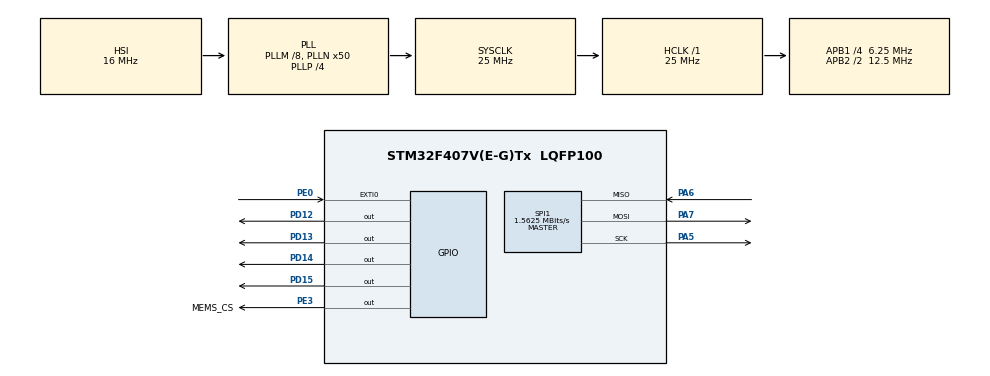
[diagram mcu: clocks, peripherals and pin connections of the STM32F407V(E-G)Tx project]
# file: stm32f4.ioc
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Mcu.Family=STM32F4
Mcu.Name=STM32F407V(E-G)Tx
Mcu.Package=LQFP100
NVIC.EXTI0_IRQn=true\:0\:0\:false\:false\:true\:true\:true\:true
NVIC.PriorityGroup=NVIC_PRIORITYGROUP_0
NVIC.SPI1_IRQn=true\:0\:0\:false\:false\:true\:true\:true\:true
PA5.Mode=Full_Duplex_Master
PA5.Signal=SPI1_SCK
PA6.Mode=Full_Duplex_Master
PA6.Signal=SPI1_MISO
PA7.Mode=Full_Duplex_Master
PA7.Signal=SPI1_MOSI
PD12.Signal=GPIO_Output
PD13.Signal=GPIO_Output
PD14.Signal=GPIO_Output
PD15.Signal=GPIO_Output
PE0.Signal=GPXTI0
PE3.GPIO_Label=MEMS_CS
PE3.Signal=GPIO_Output
ProjectManager.HeapSize=0x200
ProjectManager.StackSize=0x400
ProjectManager.TargetToolchain=STM32CubeIDE
RCC.48MHZClocksFreq_Value=14285714.285714285
RCC.AHBFreq_Value=25000000
RCC.APB1CLKDivider=RCC_HCLK_DIV4
RCC.APB1Freq_Value=6250000
RCC.APB1TimFreq_Value=12500000
RCC.APB2CLKDivider=RCC_HCLK_DIV2
RCC.APB2Freq_Value=12500000
RCC.APB2TimFreq_Value=25000000
RCC.CortexFreq_Value=25000000
RCC.HCLKFreq_Value=25000000
RCC.HSE_VALUE=8000000
RCC.HSI_VALUE=16000000
RCC.PLLM=8
RCC.PLLN=50
RCC.PLLP=RCC_PLLP_DIV4
RCC.PLLQ=7
RCC.SYSCLKFreq_VALUE=25000000
RCC.SYSCLKSource=RCC_SYSCLKSOURCE_PLLCLK
RCC.VCOOutputFreq_Value=100000000
SPI1.BaudRatePrescaler=SPI_BAUDRATEPRESCALER_8
SPI1.CalculateBaudRate=1.5625 MBits/s
SPI1.Direction=SPI_DIRECTION_2LINES
SPI1.Mode=SPI_MODE_MASTER
SPI1.VirtualType=VM_MASTER
board=STM32F407G-DISC1

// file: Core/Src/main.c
/* USER CODE BEGIN Header */
/**
  ******************************************************************************
  * @file           : main.c
  * @brief          : Main program body
  ******************************************************************************
  * @attention
  *
  * Copyright (c) 2025 STMicroelectronics.
  * All rights reserved.
  *
  * This software is licensed under terms that can be found in the LICENSE file
  * in the root directory of this software component.
  * If no LICENSE file comes with this software, it is provided AS-IS.
  *
  ******************************************************************************
  */
/* USER CODE END Header */
#include "main.h"

/* USER CODE BEGIN Includes */
#include "MY_LIS3DSH.h"
#include "stdio.h"
#include "math.h"
#define INPUT_SIZE   48
#define HIDDEN_SIZE  8
#define OUTPUT_SIZE  2

/* USER CODE END Includes */

SPI_HandleTypeDef hspi1;

/* USER CODE BEGIN PV */
/* Private variables ---------------------------------------------------------*/

/* USER CODE END PV */

void SystemClock_Config(void);
static void MX_GPIO_Init(void);
static void MX_SPI1_Init(void);

float weights_0[HIDDEN_SIZE][INPUT_SIZE] = {
    {-0.009248f, -0.118557f, 0.208243f, -0.163616f, -0.060488f, -0.268575f, -0.023230f, -0.151569f, 0.264629f, -0.151983f, 0.036574f, -0.216678f, 0.357840f, 0.161347f, 0.147439f, -0.301130f, -0.144015f, -0.144806f, 0.189924f, 0.306377f, 0.243274f, -0.126550f, -0.277290f, -0.448562f, -0.418428f, 0.056340f, -0.033840f, -0.361544f, 0.093642f, 0.013097f, 0.428422f, -0.364270f, -0.074422f, -0.071462f, -0.128521f, -0.263121f, -0.079553f, 0.092966f, 0.211703f, -0.084975f, 0.172350f, -0.099468f, -0.160572f, 0.011061f, 0.065600f, -0.061778f, -0.029764f, -0.170664f},
    {0.384768f, -0.135495f, -0.016006f, 0.347942f, -0.144132f, -0.219928f, -0.046690f, 0.122077f, 0.171077f, 0.104701f, 0.396323f, 0.137047f, 0.066642f, 0.280293f, -0.058195f, -0.359640f, 0.362765f, -0.152319f, 0.039623f, 0.105440f, -0.116425f, -0.232434f, 0.246055f, 0.190452f, -0.254038f, -0.007870f, -0.109315f, -0.252314f, 0.258587f, -0.157954f, -0.064519f, 0.267690f, -0.058631f, 0.043144f, -0.213550f, -0.269866f, 0.334025f, -0.246975f, 0.135497f, 0.168581f, -0.320873f, -0.321203f, 0.183136f, -0.166291f, -0.155428f, 0.533877f, 0.058856f, 0.072174f},
    {-0.121144f, 0.053788f, -0.304576f, -0.010932f, -0.345424f, -0.115004f, 0.285119f, 0.006430f, -0.031238f, -0.035877f, 0.042796f, 0.299130f, -0.216345f, 0.259893f, -0.074611f, 0.050530f, -0.220957f, -0.191404f, -0.136651f, -0.178544f, 0.092465f, 0.351727f, 0.015293f, 0.362109f, 0.121798f, 0.028450f, -0.141901f, 0.131056f, -0.118409f, 0.065269f, -0.222709f, 0.426339f, -0.237870f, -0.112081f, 0.152006f, 0.132421f, 0.076533f, -0.332658f, -0.025455f, 0.266767f, -0.085367f, 0.134836f, 0.161583f, -0.258936f, 0.100799f, 0.018826f, 0.240000f, 0.123266f},
    {0.339630f, 0.148957f, 0.184222f, -0.111102f, 0.123493f, -0.182276f, -0.093422f, -0.084436f, 0.011906f, -0.146037f, 0.006075f, -0.339122f, 0.296695f, -0.161720f, 0.141399f, -0.330580f, -0.197337f, 0.227388f, 0.139939f, 0.028656f, -0.143564f, 0.196220f, 0.421478f, 0.267308f, -0.114202f, -0.280208f, 0.146955f, 0.081797f, -0.243636f, -0.160721f, -0.311347f, -0.180919f, 0.073943f, -0.060370f, 0.190864f, -0.203981f, -0.411017f, 0.062991f, 0.231828f, 0.469811f, 0.085244f, -0.219883f, 0.127716f, 0.436773f, -0.206916f, 0.050738f, -0.442110f, 0.120085f},
    {0.188799f, -0.283689f, 0.038470f, 0.211704f, 0.116398f, -0.049661f, -0.326955f, 0.150062f, 0.157345f, 0.297171f, -0.112237f, -0.203849f, 0.283246f, 0.197042f, 0.106618f, -0.138664f, -0.199510f, -0.016840f, 0.144372f, -0.129081f, -0.151998f, -0.273637f, -0.066409f, 0.295718f, 0.095097f, 0.026059f, -0.085781f, 0.264756f, 0.081669f, 0.296947f, 0.387264f, 0.147906f, 0.337967f, 0.220033f, -0.246322f, 0.096282f, -0.409989f, -0.376556f, -0.356582f, -0.237277f, 0.013432f, -0.010601f, -0.247410f, -0.214927f, 0.167955f, 0.330158f, 0.047960f, 0.034510f},
    {0.301355f, -0.131590f, -0.158630f, 0.338888f, -0.182594f, -0.109815f, 0.294967f, -0.186142f, 0.132974f, 0.058695f, -0.148682f, -0.133226f, 0.161351f, 0.300814f, 0.115827f, -0.133252f, 0.211691f, -0.105246f, -0.034439f, 0.222281f, 0.011963f, -0.175978f, 0.345224f, -0.154037f, -0.393880f, 0.114063f, -0.103951f, -0.217447f, -0.052645f, 0.108034f, -0.013868f, 0.047564f, -0.041440f, -0.273842f, 0.142536f, -0.103526f, -0.166144f, -0.213610f, -0.195054f, 0.065309f, -0.093937f, 0.102449f, 0.030862f, -0.328977f, -0.077958f, 0.148599f, -0.188262f, -0.177970f},
    {-0.333677f, -0.050790f, -0.005118f, -0.051967f, -0.083677f, -0.314397f, -0.035644f, -0.164411f, -0.067704f, 0.146315f, -0.010379f, -0.180889f, 0.442371f, -0.198329f, -0.012255f, 0.194497f, -0.585594f, -0.212406f, 0.226593f, -0.417777f, -0.018307f, 0.456047f, -0.187668f, 0.089061f, 0.318492f, -0.413544f, 0.082548f, 0.216797f, -0.285624f, -0.336448f, 0.043444f, -0.111849f, -0.067164f, 0.155661f, -0.006610f, 0.045288f, -0.008738f, -0.036603f, 0.081842f, -0.307240f, 0.235399f, -0.113751f, -0.204286f, 0.077886f, 0.043896f, -0.401047f, 0.246595f, 0.068605f},
    {-0.398826f, 0.065762f, 0.017678f, -0.518229f, -0.037466f, 0.181589f, -0.342687f, 0.100941f, 0.082637f, 0.101649f, 0.102711f, 0.190002f, -0.150738f, 0.239848f, -0.086516f, 0.174906f, -0.120503f, -0.133566f, 0.291571f, -0.364854f, -0.033506f, 0.254914f, -0.272895f, -0.223147f, 0.401583f, -0.111463f, -0.153783f, 0.253270f, -0.476645f, 0.091609f, 0.278618f, -0.316085f, -0.409646f, 0.304459f, 0.009391f, -0.025688f, 0.013671f, -0.303938f, 0.090723f, 0.329138f, -0.143573f, 0.145854f, -0.118298f, -0.057475f, -0.121266f, -0.077581f, -0.041994f, 0.009059f},
};
float bias_0[HIDDEN_SIZE] = {-0.092138f, -0.191203f, 0.074501f, 0.090687f, -0.043015f, -0.174053f, 0.118728f, -0.047329f};

// Layer 1: Dense (8 -> 2)
float weights_1[OUTPUT_SIZE][HIDDEN_SIZE] = {
    {0.769002f, -0.256216f, 0.477886f, 0.385358f, 0.613516f, -0.504618f, -0.124974f, 0.188920f},
    {-0.320030f, 0.157094f, -0.700852f, -0.488613f, -0.292140f, 0.277699f, 0.470617f, 0.412249f},
};
float bias_1[OUTPUT_SIZE] = {0.143582f, -0.143582f};

// --------------------------------------------------
// Activations
// --------------------------------------------------
float relu(float x) {
    return x > 0 ? x : 0;
}

void softmax(float *x, int size) {
    float max_val = x[0];
    for (int i = 1; i < size; i++)
        if (x[i] > max_val) max_val = x[i];
    float sum = 0.0f;
    for (int i = 0; i < size; i++) {
        x[i] = expf(x[i] - max_val);
        sum += x[i];
    }
    for (int i = 0; i < size; i++) {
        x[i] /= sum;
    }
}

/* USER CODE BEGIN PFP */
/* Private function prototypes -----------------------------------------------*/

/* USER CODE END PFP */

/* USER CODE BEGIN 0 */
LIS3DSH_DataScaled myData;

uint8_t drdyFlag=0;
/* USER CODE END 0 */

void neural_network_inference(float input[INPUT_SIZE], float output[OUTPUT_SIZE]) {
    float hidden[HIDDEN_SIZE];

    // Layer 0 forward
    for (int i = 0; i < HIDDEN_SIZE; i++) {
        float sum = bias_0[i];
        for (int j = 0; j < INPUT_SIZE; j++) {
            sum += input[j] * weights_0[i][j];
        }
        hidden[i] = relu(sum);
    }

    // Layer 1 forward
    for (int i = 0; i < OUTPUT_SIZE; i++) {
        float sum = bias_1[i];
        for (int j = 0; j < HIDDEN_SIZE; j++) {
            sum += hidden[j] * weights_1[i][j];
        }
        output[i] = sum;
    }

    // Apply softmax for probabilities
    softmax(output, OUTPUT_SIZE);
}

int main(void)
{

  /* USER CODE BEGIN 1 */
	LIS3DSH_InitTypeDef myAccConfigDef;
  /* USER CODE END 1 */

  /* MCU Configuration--------------------------------------------------------*/

  /* Reset of all peripherals, Initializes the Flash interface and the Systick. */
  HAL_Init();

  /* Configure the system clock */
  SystemClock_Config();

  /* Initialize all configured peripherals */
  MX_GPIO_Init();
  MX_SPI1_Init();
  /* USER CODE BEGIN 2 */
	myAccConfigDef.dataRate = LIS3DSH_DATARATE_25;
	myAccConfigDef.fullScale = LIS3DSH_FULLSCALE_4;
	myAccConfigDef.antiAliasingBW = LIS3DSH_FILTER_BW_50;
	myAccConfigDef.enableAxes = LIS3DSH_XYZ_ENABLE;
	myAccConfigDef.interruptEnable = true;
	LIS3DSH_Init(&hspi1, &myAccConfigDef);

	LIS3DSH_X_calibrate(-1000.0, 980.0);
	LIS3DSH_Y_calibrate(-1020.0, 1040.0);
	LIS3DSH_Z_calibrate(-920.0, 1040.0);

  /* USER CODE END 2 */

  /* Infinite loop */
  while (1)
  {

    /* USER CODE BEGIN 3 */
		if(drdyFlag == 1)
		{
			drdyFlag = 0;
			myData = LIS3DSH_GetDataScaled();
			float input[INPUT_SIZE] = {myData.x,myData.y,myData.z};
			float output[OUTPUT_SIZE];
		    neural_network_inference(input, output);

		    printf("Network output probabilities:\n");
		    for (int i = 0; i < OUTPUT_SIZE; i++) {
		        printf("%f\n", output[i]);
		    }

		    int pred = (output[0] > output[1]) ? 0 : 1;
		    printf("Predicted class = %d\n", pred);
			//printf("X: %f, Y: %f, Z: %f\r\n", myData.x, myData.y, myData.z);
			HAL_GPIO_TogglePin(GPIOD, GPIO_PIN_12);
		}

  }
  /* USER CODE END 3 */
}

void SystemClock_Config(void)
{
  RCC_OscInitTypeDef RCC_OscInitStruct = {0};
  RCC_ClkInitTypeDef RCC_ClkInitStruct = {0};

  /** Configure the main internal regulator output voltage
  */
  __HAL_RCC_PWR_CLK_ENABLE();
  __HAL_PWR_VOLTAGESCALING_CONFIG(PWR_REGULATOR_VOLTAGE_SCALE1);

  /** Initializes the RCC Oscillators according to the specified parameters
  * in the RCC_OscInitTypeDef structure.
  */
  RCC_OscInitStruct.OscillatorType = RCC_OSCILLATORTYPE_HSI;
  RCC_OscInitStruct.HSIState = RCC_HSI_ON;
  RCC_OscInitStruct.HSICalibrationValue = RCC_HSICALIBRATION_DEFAULT;
  RCC_OscInitStruct.PLL.PLLState = RCC_PLL_ON;
  RCC_OscInitStruct.PLL.PLLSource = RCC_PLLSOURCE_HSI;
  RCC_OscInitStruct.PLL.PLLM = 8;
  RCC_OscInitStruct.PLL.PLLN = 50;
  RCC_OscInitStruct.PLL.PLLP = RCC_PLLP_DIV4;
  RCC_OscInitStruct.PLL.PLLQ = 7;
  if (HAL_RCC_OscConfig(&RCC_OscInitStruct) != HAL_OK)
  {
    Error_Handler();
  }

  /** Initializes the CPU, AHB and APB buses clocks
  */
  RCC_ClkInitStruct.ClockType = RCC_CLOCKTYPE_HCLK|RCC_CLOCKTYPE_SYSCLK
                              |RCC_CLOCKTYPE_PCLK1|RCC_CLOCKTYPE_PCLK2;
  RCC_ClkInitStruct.SYSCLKSource = RCC_SYSCLKSOURCE_PLLCLK;
  RCC_ClkInitStruct.AHBCLKDivider = RCC_SYSCLK_DIV1;
  RCC_ClkInitStruct.APB1CLKDivider = RCC_HCLK_DIV4;
  RCC_ClkInitStruct.APB2CLKDivider = RCC_HCLK_DIV2;

  if (HAL_RCC_ClockConfig(&RCC_ClkInitStruct, FLASH_LATENCY_0) != HAL_OK)
  {
    Error_Handler();
  }
}

static void MX_SPI1_Init(void)
{

  /* SPI1 parameter configuration*/
  hspi1.Instance = SPI1;
  hspi1.Init.Mode = SPI_MODE_MASTER;
  hspi1.Init.Direction = SPI_DIRECTION_2LINES;
  hspi1.Init.DataSize = SPI_DATASIZE_8BIT;
  hspi1.Init.CLKPolarity = SPI_POLARITY_LOW;
  hspi1.Init.CLKPhase = SPI_PHASE_1EDGE;
  hspi1.Init.NSS = SPI_NSS_SOFT;
  hspi1.Init.BaudRatePrescaler = SPI_BAUDRATEPRESCALER_8;
  hspi1.Init.FirstBit = SPI_FIRSTBIT_MSB;
  hspi1.Init.TIMode = SPI_TIMODE_DISABLE;
  hspi1.Init.CRCCalculation = SPI_CRCCALCULATION_DISABLE;
  hspi1.Init.CRCPolynomial = 10;
  if (HAL_SPI_Init(&hspi1) != HAL_OK)
  {
    Error_Handler();
  }

}

static void MX_GPIO_Init(void)
{
  GPIO_InitTypeDef GPIO_InitStruct = {0};

  /* GPIO Ports Clock Enable */
  __HAL_RCC_GPIOE_CLK_ENABLE();
  __HAL_RCC_GPIOA_CLK_ENABLE();
  __HAL_RCC_GPIOD_CLK_ENABLE();

  /*Configure GPIO pin Output Level */
  HAL_GPIO_WritePin(MEMS_CS_GPIO_Port, MEMS_CS_Pin, GPIO_PIN_RESET);

  /*Configure GPIO pin Output Level */
  HAL_GPIO_WritePin(GPIOD, GPIO_PIN_12|GPIO_PIN_13|GPIO_PIN_14|GPIO_PIN_15, GPIO_PIN_RESET);

  /*Configure GPIO pin : MEMS_CS_Pin */
  GPIO_InitStruct.Pin = MEMS_CS_Pin;
  GPIO_InitStruct.Mode = GPIO_MODE_OUTPUT_PP;
  GPIO_InitStruct.Pull = GPIO_NOPULL;
  GPIO_InitStruct.Speed = GPIO_SPEED_FREQ_LOW;
  HAL_GPIO_Init(MEMS_CS_GPIO_Port, &GPIO_InitStruct);

  /*Configure GPIO pins : PD12 PD13 PD14 PD15 */
  GPIO_InitStruct.Pin = GPIO_PIN_12|GPIO_PIN_13|GPIO_PIN_14|GPIO_PIN_15;
  GPIO_InitStruct.Mode = GPIO_MODE_OUTPUT_PP;
  GPIO_InitStruct.Pull = GPIO_NOPULL;
  GPIO_InitStruct.Speed = GPIO_SPEED_FREQ_LOW;
  HAL_GPIO_Init(GPIOD, &GPIO_InitStruct);

  /*Configure GPIO pin : PE0 */
  GPIO_InitStruct.Pin = GPIO_PIN_0;
  GPIO_InitStruct.Mode = GPIO_MODE_IT_RISING;
  GPIO_InitStruct.Pull = GPIO_NOPULL;
  HAL_GPIO_Init(GPIOE, &GPIO_InitStruct);

  /* EXTI interrupt init*/
  HAL_NVIC_SetPriority(EXTI0_IRQn, 0, 0);
  HAL_NVIC_EnableIRQ(EXTI0_IRQn);

}

/* USER CODE BEGIN 4 */
void HAL_GPIO_EXTI_Callback(uint16_t GPIO_Pin)
{
  /* Prevent unused argument(s) compilation warning */
  UNUSED(GPIO_Pin);
  /* NOTE: This function Should not be modified, when the callback is needed,
           the HAL_GPIO_EXTI_Callback could be implemented in the user file
   */

	drdyFlag = 1;
	HAL_GPIO_TogglePin(GPIOD, GPIO_PIN_13);
}
/* USER CODE END 4 */

void Error_Handler(void)
{
  while(1)
  {
  }
}
